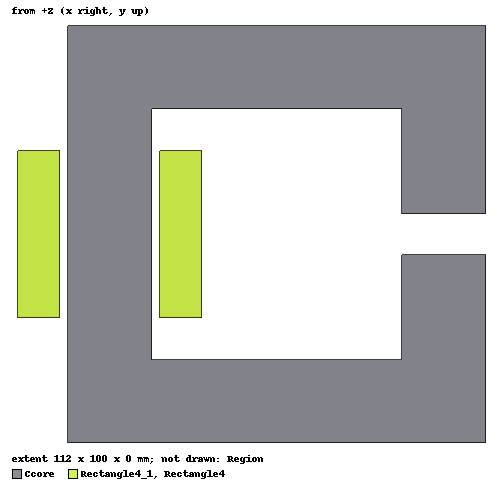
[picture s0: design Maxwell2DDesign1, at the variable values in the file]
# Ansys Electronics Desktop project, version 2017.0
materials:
  vacuum: permittivity=1
  copper: permeability=0.999991 conductivity=58000000
  steel_1010: permittivity=1 permeability{BType=normal HUnit=A_per_meter BUnit=tesla curve (0, 0) (238.7, 0.2003) (318.3, 0.3204) (358.1, 0.40045) (437.7, 0.50055) (477.5, 0.5606) (636.6, 0.7908) (795.8, 0.931) (1114.1, 1.1014) (1273.2, 1.2016) (1591.5, 1.302) (2228.2, 1.4028) (3183.1, 1.524) (4774.6, 1.626) (6366.2, 1.698) (7957.7, 1.73) (15915.5, 1.87) (31831, 1.99) (47746.5, 2.04) (63662, 2.07) (79577.5, 2.095) (159155, 2.2) (318310, 2.4)} conductivity=2000000 lande_g_factor=2
  ferrite: permittivity=12 permeability=1000 conductivity=0.01

design Maxwell2DDesign1 (Maxwell 2D, Magnetostatic, XY geometry, model units mm)
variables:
  N = 100
  I = 120A
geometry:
  Rectangle1 = rectangle(corner=(0mm, 0mm, 0mm), x_size=20mm, y_size=100mm)
  Rectangle2 = rectangle(corner=(20mm, 0mm, 0mm), x_size=60mm, y_size=20mm)
  Rectangle2_1 = Rectangle2.duplicate_mirror(point=(50mm, 50mm, 0mm), normal=(0mm, -1mm, 0mm))
  Rectangle3 = rectangle(corner=(80mm, 0mm, 0mm), x_size=20mm, y_size=45mm)
  Ccore [ferrite] = Rectangle3.duplicate_mirror(point=(110mm, 50mm, 0mm), normal=(0mm, -1mm, 0mm))
  Ccore.unite(Rectangle2_1, Rectangle1, Rectangle3, Rectangle2)
  Rectangle4 [copper] = rectangle(corner=(-12mm, 70mm, 0mm), x_size=10mm, y_size=-40mm)
  Rectangle4_1 [copper] = Rectangle4.duplicate_mirror(point=(10mm, 70mm, 0mm), normal=(-1mm, 0mm, 0mm))
  Region [vacuum] = region(percentage_offset: +X=200, -X=200, +Y=200, -Y=200, +Z=0, -Z=0)
  Rectangle5 [vacuum, non-model] = rectangle(corner=(-80mm, 140mm, 0mm), x_size=260mm, y_size=-180mm)
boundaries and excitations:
  Balloon1: Balloon Edges=Region.edge(all 4)
  Current1: Current Objects=Rectangle4 Current=N*I IsPositive=true
  Current2: Current Objects=Rectangle4_1 Current=N*I IsPositive=false
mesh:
  Length1: LengthBased RefineInside Objects=[Ccore, Rectangle4, Rectangle4_1, Rectangle5] MaxLength=5mm
  initial mesh: MeshMethod=AnsoftClassic
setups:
  Setup1: Magnetostatic MaximumPasses=10 MinimumPasses=2 MinimumConvergedPasses=1 PercentRefinement=30 PercentError=1 NonLinearResidual=0.0001
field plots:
  Mag_B1: B on Setup1 : LastAdaptive
